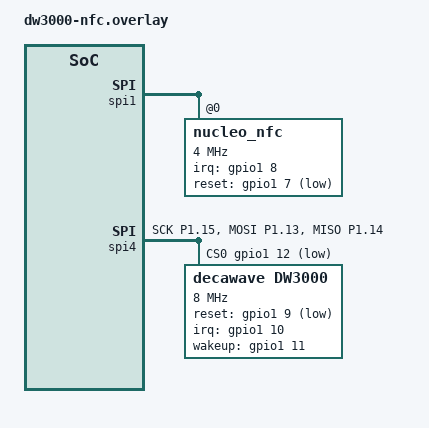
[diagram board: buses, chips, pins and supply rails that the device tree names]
/*
 * DW3000 (UWB) + NFC12A1 pin overlay for matter-aliro-door-lock-app.
 * Applied AFTER the app's own board overlay, so these values override the
 * upstream defaults via DTS merge.
 *
 * NFC12A1 (ST25R300) on SPIM1: SCK P0.06, MOSI P0.07, MISO P0.25, CS P0.26,
 *   IRQ P1.08, RST P1.07  (A2-A5 ribbon wiring).
 * DW3000 (DWM3000EVB)  on SPIM4: SCK P1.15, MOSI P1.13, MISO P1.14, CS P1.12,
 *   RSTn P1.09, IRQ P1.10, WAKEUP P1.11  (Arduino header, seated shield).
 */

/* NFC reader — retarget the add-on's default SPIM1 pinout to our ribbon wiring. */
&pinctrl {
	spi1_default_alt: spi1_default_alt {
		group1 {
			psels = <NRF_PSEL(SPIM_SCK, 0, 6)>,
				<NRF_PSEL(SPIM_MOSI, 0, 7)>,
				<NRF_PSEL(SPIM_MISO, 0, 25)>;
		};
	};

	spi1_sleep_alt: spi1_sleep_alt {
		group1 {
			psels = <NRF_PSEL(SPIM_SCK, 0, 6)>,
				<NRF_PSEL(SPIM_MOSI, 0, 7)>,
				<NRF_PSEL(SPIM_MISO, 0, 25)>;
			low-power-enable;
		};
	};
};

&spi1 {
	cs-gpios = <&gpio0 26 GPIO_ACTIVE_LOW>;

	nucleo_nfc@0 {
		spi-max-frequency = <4000000>;
		irq-gpios = <&gpio1 8 GPIO_ACTIVE_HIGH>;
		reset-gpios = <&gpio1 7 (GPIO_ACTIVE_LOW | GPIO_PULL_DOWN)>;
	};
};

&gpio1 {
	status = "okay";
	/* PORT event (not GPIOTE IN) to save power. P1.08 = NFC12A1 IRQ (ribbon). */
	sense-edge-mask = <0x00000100>;
};

/* ── DW3000 (DWM3000EVB, SPIM4) — Woz UWB ranging engine (dw3000@0 node) ──
 * Arduino SPI header P1.15/13/14 + CS P1.12 (free now that the NFC reader moved
 * to the A2-A5 ribbon). Side-band GPIOs per the seated DWM3000EVB.
 */
&pinctrl {
	spi4_default: spi4_default {
		group1 {
			psels = <NRF_PSEL(SPIM_SCK,  1, 15)>,
				<NRF_PSEL(SPIM_MOSI, 1, 13)>,
				<NRF_PSEL(SPIM_MISO, 1, 14)>;
		};
	};

	spi4_sleep: spi4_sleep {
		group1 {
			psels = <NRF_PSEL(SPIM_SCK,  1, 15)>,
				<NRF_PSEL(SPIM_MOSI, 1, 13)>,
				<NRF_PSEL(SPIM_MISO, 1, 14)>;
			low-power-enable;
		};
	};
};

&spi4 {
	status = "okay";
	pinctrl-0 = <&spi4_default>;
	pinctrl-1 = <&spi4_sleep>;
	pinctrl-names = "default", "sleep";
	cs-gpios = <&gpio1 12 GPIO_ACTIVE_LOW>;

	dw3000: dw3000@0 {
		compatible = "decawave,dw3000";
		reg = <0>;
		/* 8 MHz (not 32): the add-on app core runs at 65 MHz, so SPIM4's 32 MHz
		 * mode isn't reliable here. 8 MHz is a proven seated-shield speed. */
		spi-max-frequency = <8000000>;
		reset-gpios  = <&gpio1  9 GPIO_ACTIVE_LOW>;
		irq-gpios    = <&gpio1 10 GPIO_ACTIVE_HIGH>;
		wakeup-gpios = <&gpio1 11 GPIO_ACTIVE_HIGH>;
	};
};
